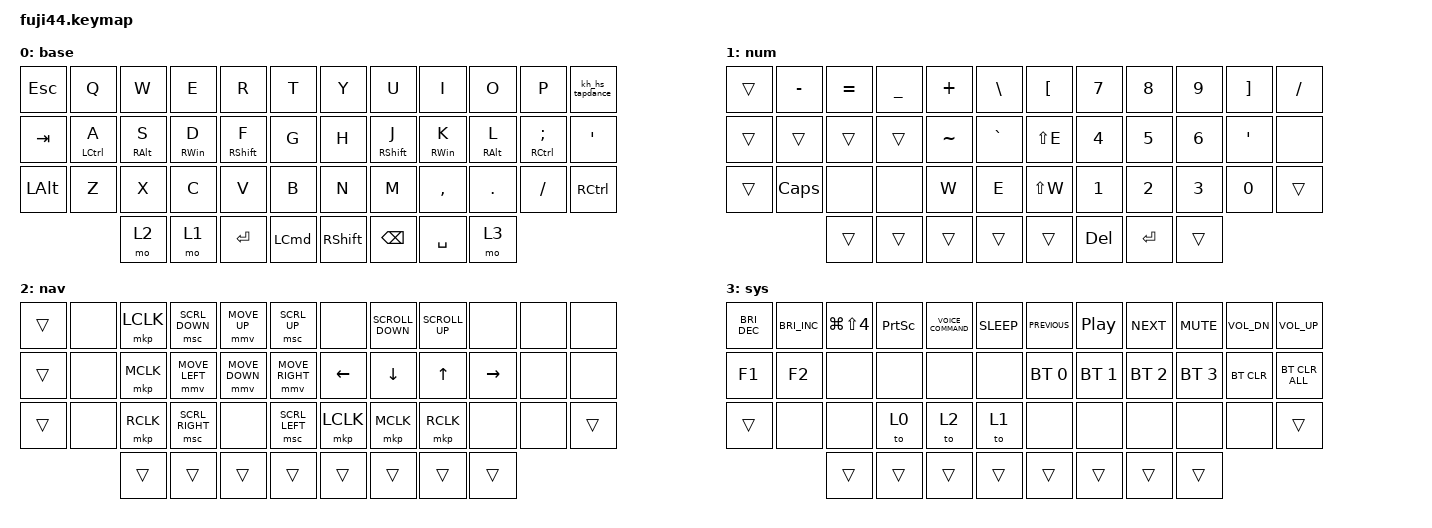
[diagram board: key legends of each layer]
/*
 * Copyright (c) 2020 The ZMK Contributors
 *
 * SPDX-License-Identifier: MIT
 */

#include <behaviors.dtsi>
#include <dt-bindings/zmk/bt.h>
#include <dt-bindings/zmk/keys.h>
#include <dt-bindings/zmk/pointing.h>

#define ZMK_POINTING_DEFAULT_MOVE_VAL 1500
#define ZMK_POINTING_DEFAULT_SCRL_VAL 20

/ {
    combos {
        compatible = "zmk,combos";

        combo_bootloader_left {
            timeout-ms = <50>;
            key-positions = <0 12 24>;
            bindings = <&bootloader>;
        };

        combo_bootloader_right {
            bindings = <&bootloader>;
            key-positions = <11 23 35>;
            timeout-ms = <50>;
        };
    };

    behaviors {
        ss_hs_modmorph: ss_hs_modmorph {
            compatible = "zmk,behavior-mod-morph";
            label = "SS_HS_MODMORPH";
            bindings = <&kp M>, <&kp RIGHT_BRACKET>;

            #binding-cells = <0>;
            mods = <(MOD_LSFT|MOD_RSFT)>;
        };

        kh_hs_tapdance: kh_hs_tapdance {
            compatible = "zmk,behavior-tap-dance";
            label = "KH_HS_TAPDANCE";
            #binding-cells = <0>;
            bindings = <&kp LEFT_BRACKET>, <&kp RIGHT_BRACKET>;

            tapping-term-ms = <200>;
        };

        hrm: hrm {
            compatible = "zmk,behavior-hold-tap";
            #binding-cells = <2>;
            flavor = "tap-preferred";
            tapping-term-ms = <200>;
            quick-tap-ms = <200>;
            require-prior-idle-ms = <125>;
            bindings = <&kp>, <&kp>;
        };

        t_backslash_tapdance: t_backslash_tapdance {
            compatible = "zmk,behavior-tap-dance";
            label = "T_BACKSLASH_TAPDANCE";
            #binding-cells = <0>;
            bindings = <&kp T>, <&kp BACKSLASH>;

            tapping-term-ms = <100>;
        };

        hold_tap_layer: hold_tap_layer {
            compatible = "zmk,behavior-hold-tap";
            label = "HOLD_TAP_LAYER";
            bindings = <&mo>, <&tog>;

            #binding-cells = <2>;
            tapping-term-ms = <250>;
        };
    };

    keymap {
        compatible = "zmk,keymap";

        base {
            bindings = <
&kp ESC       &kp Q                &kp W             &kp E             &kp R         &kp T               &kp Y            &kp U          &kp I             &kp O             &kp P                    &kh_hs_tapdance
&kp TAB       &hrm LEFT_CONTROL A  &hrm RIGHT_ALT S  &hrm RIGHT_WIN D  &hrm RSHFT F  &kp G               &kp H            &hrm RSHFT J   &hrm RIGHT_WIN K  &hrm RIGHT_ALT L  &hrm RIGHT_CONTROL SEMI  &kp SINGLE_QUOTE
&kp LEFT_ALT  &kp Z                &kp X             &kp C             &kp V         &kp B               &kp N            &kp M          &kp COMMA         &kp DOT           &kp FSLH                 &kp RCTRL
                                   &mo 2             &mo 1             &kp ENTER     &kp LEFT_COMMAND    &kp RIGHT_SHIFT  &kp BACKSPACE  &kp SPACE         &mo 3
            >;
        };

        num {
            bindings = <
&trans  &kp MINUS     &kp EQUAL  &kp UNDER  &kp PLUS   &kp BACKSLASH    &kp LEFT_BRACKET  &kp N7        &kp N8        &kp N9        &kp RIGHT_BRACKET  &kp SLASH
&trans  &trans        &trans     &trans     &kp TILDE  &kp GRAVE        &kp LS(E)         &kp NUMBER_4  &kp NUMBER_5  &kp NUMBER_6  &kp SINGLE_QUOTE   &none
&trans  &kp CAPSLOCK  &none      &none      &kp W      &kp E            &kp LS(W)         &kp NUMBER_1  &kp NUMBER_2  &kp NUMBER_3  &kp NUMBER_0       &trans
                      &trans     &trans     &trans     &trans           &trans            &kp DELETE    &kp ENTER     &trans
            >;
        };

        nav {
            bindings = <
&trans  &none  &mkp LCLK  &msc SCRL_DOWN   &mmv MOVE_UP    &msc SCRL_UP       &none      &kp K_SCROLL_DOWN  &kp K_SCROLL_UP  &none      &none  &none
&trans  &none  &mkp MCLK  &mmv MOVE_LEFT   &mmv MOVE_DOWN  &mmv MOVE_RIGHT    &kp LEFT   &kp DOWN           &kp UP           &kp RIGHT  &none  &none
&trans  &none  &mkp RCLK  &msc SCRL_RIGHT  &none           &msc SCRL_LEFT     &mkp LCLK  &mkp MCLK          &mkp RCLK        &none      &none  &trans
               &trans     &trans           &trans          &trans             &trans     &trans             &trans           &trans
            >;
        };

        sys {
            bindings = <
&kp C_BRIGHTNESS_DEC  &kp C_BRIGHTNESS_INC  &kp LG(LS(NUMBER_4))  &kp PRINTSCREEN  &kp C_VOICE_COMMAND  &kp C_SLEEP    &kp C_PREVIOUS  &kp C_PLAY_PAUSE  &kp C_NEXT    &kp K_MUTE    &kp C_VOL_DN  &kp C_VOL_UP
&kp F1                &kp F2                &none                 &none            &none                &none          &bt BT_SEL 0    &bt BT_SEL 1      &bt BT_SEL 2  &bt BT_SEL 3  &bt BT_CLR    &bt BT_CLR_ALL
&trans                &none                 &none                 &to 0            &to 2                &to 1          &none           &none             &none         &none         &none         &trans
                                            &trans                &trans           &trans               &trans         &trans          &trans            &trans        &trans
            >;
        };
    };
};
